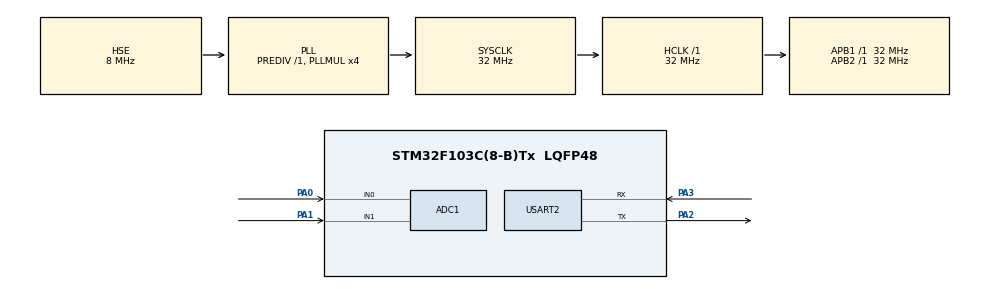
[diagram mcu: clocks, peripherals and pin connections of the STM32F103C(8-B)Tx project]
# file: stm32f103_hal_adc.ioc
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ADC1.Channel-8\#ChannelRegularConversion=ADC_CHANNEL_1
ADC1.Channel-9\#ChannelRegularConversion=ADC_CHANNEL_TEMPSENSOR
ADC1.ContinuousConvMode=ENABLE
ADC1.NbrOfConversion=3
ADC1.NbrOfConversionFlag=1
ADC1.Rank-8\#ChannelRegularConversion=2
ADC1.Rank-9\#ChannelRegularConversion=3
ADC1.SamplingTime-0\#ChannelRegularConversion=ADC_SAMPLETIME_13CYCLES_5
ADC1.SamplingTime-8\#ChannelRegularConversion=ADC_SAMPLETIME_13CYCLES_5
ADC1.SamplingTime-9\#ChannelRegularConversion=ADC_SAMPLETIME_13CYCLES_5
ADC1.master=1
Dma.ADC1.0.Direction=DMA_PERIPH_TO_MEMORY
Dma.ADC1.0.Instance=DMA1_Channel1
Dma.ADC1.0.MemDataAlignment=DMA_MDATAALIGN_WORD
Dma.ADC1.0.MemInc=DMA_MINC_ENABLE
Dma.ADC1.0.Mode=DMA_CIRCULAR
Dma.ADC1.0.PeriphDataAlignment=DMA_PDATAALIGN_WORD
Dma.ADC1.0.PeriphInc=DMA_PINC_DISABLE
Dma.ADC1.0.Priority=DMA_PRIORITY_LOW
Dma.Request0=ADC1
Mcu.Family=STM32F1
Mcu.Name=STM32F103C(8-B)Tx
Mcu.Package=LQFP48
NVIC.DMA1_Channel1_IRQn=true\:0\:0\:false\:false\:true\:false\:true
NVIC.PriorityGroup=NVIC_PRIORITYGROUP_4
PA0-WKUP.Signal=ADCx_IN0
PA1.Signal=ADCx_IN1
PA13.Mode=Serial_Wire
PA13.Signal=SYS_JTMS-SWDIO
PA14.Mode=Serial_Wire
PA14.Signal=SYS_JTCK-SWCLK
PA2.Mode=Asynchronous
PA2.Signal=USART2_TX
PA3.Mode=Asynchronous
PA3.Signal=USART2_RX
PD0-OSC_IN.Mode=HSE-External-Oscillator
PD0-OSC_IN.Signal=RCC_OSC_IN
PD1-OSC_OUT.Mode=HSE-External-Oscillator
PD1-OSC_OUT.Signal=RCC_OSC_OUT
ProjectManager.HeapSize=0x200
ProjectManager.StackSize=0x400
ProjectManager.TargetToolchain=STM32CubeIDE
RCC.ADCPresc=RCC_ADCPCLK2_DIV4
RCC.AHBFreq_Value=32000000
RCC.APB1Freq_Value=32000000
RCC.APB1TimFreq_Value=32000000
RCC.APB2Freq_Value=32000000
RCC.APB2TimFreq_Value=32000000
RCC.HCLKFreq_Value=32000000
RCC.PLLMUL=RCC_PLL_MUL4
RCC.PLLSourceVirtual=RCC_PLLSOURCE_HSE
RCC.SYSCLKFreq_VALUE=32000000
RCC.SYSCLKSource=RCC_SYSCLKSOURCE_PLLCLK
RCC.USBFreq_Value=32000000
SH.ADCx_IN0.0=ADC1_IN0,IN0
SH.ADCx_IN1.0=ADC1_IN1,IN1
USART2.VirtualMode=VM_ASYNC
VP_ADC1_TempSens_Input.Mode=IN-TempSens
board=custom

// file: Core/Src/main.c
/* USER CODE BEGIN Header */
/**
  ******************************************************************************
  * @file           : main.c
  * @brief          : Main program body
  ******************************************************************************
  * @attention
  *
  * <h2><center>&copy; Copyright (c) 2021 STMicroelectronics.
  * All rights reserved.</center></h2>
  *
  * This software component is licensed by ST under BSD 3-Clause license,
  * the "License"; You may not use this file except in compliance with the
  * License. You may obtain a copy of the License at:
  *                        opensource.org/licenses/BSD-3-Clause
  *
  ******************************************************************************
  */
/* USER CODE END Header */
#include "main.h"

/* USER CODE BEGIN Includes */
#include <stdio.h>
#include <string.h>

/* USER CODE END Includes */

/* USER CODE BEGIN PTD */
uint16_t raw;

uint16_t adc1, tem;
char msg[20];
char msg2[15];

uint32_t adc[3], buffer[3], temperature;  // define variables
float vsense = 3.3/1023;

/* USER CODE END PTD */

/* USER CODE BEGIN PM */
#define ADC_BUF_LEN 4096
/* USER CODE END PM */

ADC_HandleTypeDef hadc1;
DMA_HandleTypeDef hdma_adc1;

UART_HandleTypeDef huart2;

void SystemClock_Config(void);
static void MX_GPIO_Init(void);
static void MX_DMA_Init(void);
static void MX_ADC1_Init(void);
static void MX_USART2_UART_Init(void);

/* USER CODE BEGIN 0 */
#define V25 1.43 // from datasheet
	  #define VSENSE 3.3/4096 // VSENSE value
	  #define Avg_Slope .0043 // 4.3mV from datasheet
uint32_t value[3];
/* USER CODE END 0 */

int main(void)
{

  /* MCU Configuration--------------------------------------------------------*/

  /* Reset of all peripherals, Initializes the Flash interface and the Systick. */
  HAL_Init();

  /* Configure the system clock */
  SystemClock_Config();

  /* Initialize all configured peripherals */
  MX_GPIO_Init();
  MX_DMA_Init();
  MX_ADC1_Init();
  MX_USART2_UART_Init();

  /* Infinite loop */
  while (1)
  {

    /* USER CODE BEGIN 3 */

//	  HAL_ADC_Start(&hadc1);
//	  HAL_ADC_PollForConversion(&hadc1, 300);
//	  raw = HAL_ADC_GetValue(&hadc1);
//
//	  HAL_ADC_PollForConversion(&hadc1, 300);
//	  adc1 = HAL_ADC_GetValue(&hadc1);
//	//  HAL_ADC_Stop (&hadc1);
//
//	  HAL_ADC_PollForConversion(&hadc1, 300);
//	 tem = HAL_ADC_GetValue(&hadc1);
//
//
//
//	  //sprintf(msg2, "raw = %u, adc1 = %u\r\n", raw, adc1);
//	  sprintf(msg2, "adc1 = %u\r\n", adc1);
//	  HAL_UART_Transmit(&huart2, (uint8_t*)msg2, strlen(msg2), 300);
//
//
//	  sprintf(msg2, "raw = %u\r\n", raw);
//	  HAL_UART_Transmit(&huart2, (uint8_t*)msg2, strlen(msg2), 300);
//
//	  sprintf(msg2, "tem = %u\r\n", tem);
//	 		  HAL_UART_Transmit(&huart2, (uint8_t*)msg2, strlen(msg2), 300);
//
  HAL_Delay(1000);

	  HAL_ADC_Start_DMA(&hadc1, value, 3); // start adc in DMA mode

  }
  /* USER CODE END 3 */
}

void SystemClock_Config(void)
{
  RCC_OscInitTypeDef RCC_OscInitStruct = {0};
  RCC_ClkInitTypeDef RCC_ClkInitStruct = {0};
  RCC_PeriphCLKInitTypeDef PeriphClkInit = {0};

  /** Initializes the RCC Oscillators according to the specified parameters
  * in the RCC_OscInitTypeDef structure.
  */
  RCC_OscInitStruct.OscillatorType = RCC_OSCILLATORTYPE_HSE;
  RCC_OscInitStruct.HSEState = RCC_HSE_ON;
  RCC_OscInitStruct.HSEPredivValue = RCC_HSE_PREDIV_DIV1;
  RCC_OscInitStruct.HSIState = RCC_HSI_ON;
  RCC_OscInitStruct.PLL.PLLState = RCC_PLL_ON;
  RCC_OscInitStruct.PLL.PLLSource = RCC_PLLSOURCE_HSE;
  RCC_OscInitStruct.PLL.PLLMUL = RCC_PLL_MUL4;
  if (HAL_RCC_OscConfig(&RCC_OscInitStruct) != HAL_OK)
  {
    Error_Handler();
  }
  /** Initializes the CPU, AHB and APB buses clocks
  */
  RCC_ClkInitStruct.ClockType = RCC_CLOCKTYPE_HCLK|RCC_CLOCKTYPE_SYSCLK
                              |RCC_CLOCKTYPE_PCLK1|RCC_CLOCKTYPE_PCLK2;
  RCC_ClkInitStruct.SYSCLKSource = RCC_SYSCLKSOURCE_PLLCLK;
  RCC_ClkInitStruct.AHBCLKDivider = RCC_SYSCLK_DIV1;
  RCC_ClkInitStruct.APB1CLKDivider = RCC_HCLK_DIV1;
  RCC_ClkInitStruct.APB2CLKDivider = RCC_HCLK_DIV1;

  if (HAL_RCC_ClockConfig(&RCC_ClkInitStruct, FLASH_LATENCY_1) != HAL_OK)
  {
    Error_Handler();
  }
  PeriphClkInit.PeriphClockSelection = RCC_PERIPHCLK_ADC;
  PeriphClkInit.AdcClockSelection = RCC_ADCPCLK2_DIV4;
  if (HAL_RCCEx_PeriphCLKConfig(&PeriphClkInit) != HAL_OK)
  {
    Error_Handler();
  }
}

static void MX_ADC1_Init(void)
{

  ADC_ChannelConfTypeDef sConfig = {0};

  /** Common config
  */
  hadc1.Instance = ADC1;
  hadc1.Init.ScanConvMode = ADC_SCAN_ENABLE;
  hadc1.Init.ContinuousConvMode = ENABLE;
  hadc1.Init.DiscontinuousConvMode = DISABLE;
  hadc1.Init.ExternalTrigConv = ADC_SOFTWARE_START;
  hadc1.Init.DataAlign = ADC_DATAALIGN_RIGHT;
  hadc1.Init.NbrOfConversion = 3;
  if (HAL_ADC_Init(&hadc1) != HAL_OK)
  {
    Error_Handler();
  }
  /** Configure Regular Channel
  */
  sConfig.Channel = ADC_CHANNEL_0;
  sConfig.Rank = ADC_REGULAR_RANK_1;
  sConfig.SamplingTime = ADC_SAMPLETIME_13CYCLES_5;
  if (HAL_ADC_ConfigChannel(&hadc1, &sConfig) != HAL_OK)
  {
    Error_Handler();
  }
  /** Configure Regular Channel
  */
  sConfig.Channel = ADC_CHANNEL_1;
  sConfig.Rank = ADC_REGULAR_RANK_2;
  if (HAL_ADC_ConfigChannel(&hadc1, &sConfig) != HAL_OK)
  {
    Error_Handler();
  }
  /** Configure Regular Channel
  */
  sConfig.Channel = ADC_CHANNEL_TEMPSENSOR;
  sConfig.Rank = ADC_REGULAR_RANK_3;
  if (HAL_ADC_ConfigChannel(&hadc1, &sConfig) != HAL_OK)
  {
    Error_Handler();
  }

}

static void MX_USART2_UART_Init(void)
{

  huart2.Instance = USART2;
  huart2.Init.BaudRate = 115200;
  huart2.Init.WordLength = UART_WORDLENGTH_8B;
  huart2.Init.StopBits = UART_STOPBITS_1;
  huart2.Init.Parity = UART_PARITY_NONE;
  huart2.Init.Mode = UART_MODE_TX_RX;
  huart2.Init.HwFlowCtl = UART_HWCONTROL_NONE;
  huart2.Init.OverSampling = UART_OVERSAMPLING_16;
  if (HAL_UART_Init(&huart2) != HAL_OK)
  {
    Error_Handler();
  }

}

static void MX_DMA_Init(void)
{

  /* DMA controller clock enable */
  __HAL_RCC_DMA1_CLK_ENABLE();

  /* DMA interrupt init */
  /* DMA1_Channel1_IRQn interrupt configuration */
  HAL_NVIC_SetPriority(DMA1_Channel1_IRQn, 0, 0);
  HAL_NVIC_EnableIRQ(DMA1_Channel1_IRQn);

}

static void MX_GPIO_Init(void)
{

  /* GPIO Ports Clock Enable */
  __HAL_RCC_GPIOD_CLK_ENABLE();
  __HAL_RCC_GPIOA_CLK_ENABLE();

}

void Error_Handler(void)
{
  __disable_irq();
  while (1)
  {
  }
}

/************************ (C) COPYRIGHT STMicroelectronics *****END OF FILE****/
